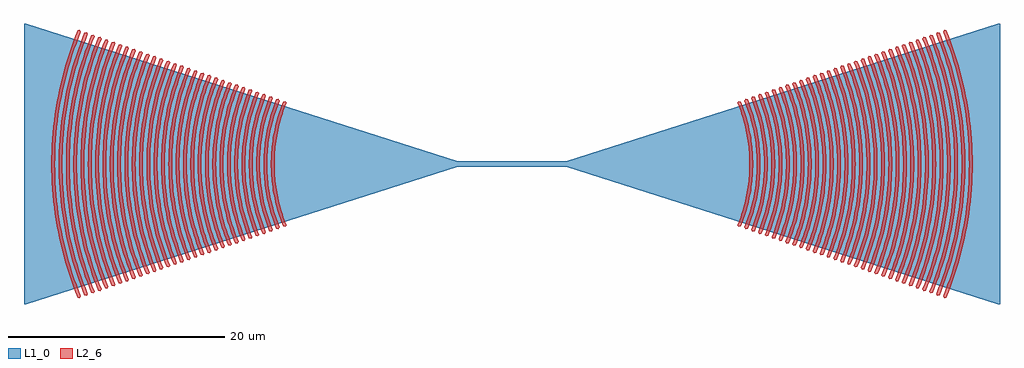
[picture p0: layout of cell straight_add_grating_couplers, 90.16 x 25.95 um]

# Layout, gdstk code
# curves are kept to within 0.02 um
from math import pi, radians
import gdstk
lib = gdstk.Library(unit=1e-6, precision=1e-09)
def R(c, l, rs):  # rectangles x0, y0, x1, y1
    for r in rs: c.add(gdstk.rectangle(r[:2], r[2:], *l))
def P(c, l, *ps):  # polygons
    for p in ps: c.add(gdstk.Polygon(p, *l))
L1_0 = (1, 0)
L2_6 = (2, 6)

straight = lib.new_cell('straight')
R(straight, L1_0, [(0,-0.25,10,0.25)])

grating_coupler_elliptic = lib.new_cell('grating_coupler_elliptical_trenches_taper_angle35')
P(grating_coupler_elliptic, L1_0, [(0.471,-0.25),(0.471,0.25),(40.352,12.973),(40.552,12.973),(40.552,-12.973),(40.352,-12.973)])
P(grating_coupler_elliptic, L2_6, [(16.414,-5.811),(16.3,-5.646),(16.58,-4.905),(16.82,-4.153),(17.02,-3.389),(17.178,-2.617),(17.351,-1.313),(17.409,0),(17.351,1.313),(17.178,2.617),(17.02,3.389),(16.82,4.153),(16.58,4.905),(16.3,5.646),(16.414,5.811),(16.61,5.77),(16.981,4.76),(17.344,3.465),(17.506,2.675),(17.658,1.611),(17.721,0.806),(17.743,0),(17.721,-0.806),(17.658,-1.611),(17.506,-2.675),(17.344,-3.465),(16.981,-4.76),(16.61,-5.77)],
  [(17.047,-6.03),(16.933,-5.866),(17.224,-5.096),(17.473,-4.315),(17.68,-3.521),(17.845,-2.718),(18.025,-1.364),(18.085,0),(18.025,1.364),(17.845,2.718),(17.68,3.521),(17.473,4.315),(17.224,5.096),(16.933,5.866),(17.047,6.03),(17.243,5.988),(17.444,5.469),(17.793,4.407),(18.066,3.325),(18.219,2.501),(18.33,1.671),(18.396,0.837),(18.419,0),(18.396,-0.837),(18.33,-1.671),(18.219,-2.501),(18.066,-3.325),(17.793,-4.407),(17.444,-5.469),(17.243,-5.988)],
  [(17.68,-6.25),(17.566,-6.086),(17.868,-5.287),(18.126,-4.477),(18.341,-3.653),(18.512,-2.82),(18.699,-1.415),(18.761,0),(18.699,1.415),(18.512,2.82),(18.341,3.653),(18.126,4.477),(17.868,5.287),(17.566,6.086),(17.68,6.25),(17.876,6.208),(17.982,5.94),(18.363,4.846),(18.665,3.729),(18.84,2.878),(19.003,1.733),(19.071,0.868),(19.095,0),(19.071,-0.868),(19.003,-1.733),(18.84,-2.878),(18.665,-3.729),(18.363,-4.846),(17.982,-5.94),(17.876,-6.208)],
  [(18.313,-6.469),(18.199,-6.304),(18.512,-5.478),(18.779,-4.638),(19.002,-3.785),(19.179,-2.922),(19.373,-1.466),(19.437,0),(19.373,1.466),(19.179,2.922),(19.002,3.785),(18.779,4.638),(18.512,5.478),(18.199,6.304),(18.313,6.469),(18.509,6.428),(18.619,6.15),(19.013,5.018),(19.326,3.861),(19.507,2.98),(19.676,1.794),(19.746,0.898),(19.771,0),(19.746,-0.898),(19.676,-1.794),(19.507,-2.98),(19.326,-3.861),(19.013,-5.018),(18.619,-6.15),(18.509,-6.428)],
  [(18.946,-6.689),(18.832,-6.525),(19.155,-5.668),(19.432,-4.8),(19.663,-3.917),(19.846,-3.024),(20.046,-1.517),(20.113,0),(20.046,1.517),(19.846,3.024),(19.663,3.917),(19.432,4.8),(19.155,5.668),(18.832,6.525),(18.946,6.689),(19.142,6.647),(19.365,6.07),(19.752,4.892),(20.055,3.69),(20.225,2.776),(20.349,1.855),(20.422,0.929),(20.447,0),(20.422,-0.929),(20.349,-1.855),(20.225,-2.776),(20.055,-3.69),(19.752,-4.892),(19.365,-6.07),(19.142,-6.647)],
  [(19.579,-6.908),(19.465,-6.744),(19.799,-5.859),(20.085,-4.961),(20.324,-4.048),(20.513,-3.125),(20.72,-1.568),(20.789,0),(20.72,1.568),(20.513,3.125),(20.324,4.048),(20.085,4.961),(19.799,5.859),(19.465,6.744),(19.579,6.908),(19.775,6.866),(20.005,6.27),(20.405,5.053),(20.718,3.812),(20.894,2.868),(21.021,1.917),(21.097,0.96),(21.123,0),(21.097,-0.96),(21.021,-1.917),(20.894,-2.868),(20.718,-3.812),(20.405,-5.053),(20.005,-6.27),(19.775,-6.866)],
  [(20.212,-7.128),(20.098,-6.964),(20.443,-6.05),(20.738,-5.123),(20.984,-4.18),(21.18,-3.227),(21.394,-1.619),(21.465,0),(21.394,1.619),(21.18,3.227),(20.984,4.18),(20.738,5.123),(20.443,6.05),(20.098,6.964),(20.212,7.128),(20.408,7.086),(20.646,6.471),(21.058,5.215),(21.381,3.934),(21.563,2.959),(21.694,1.978),(21.772,0.99),(21.799,0),(21.772,-0.99),(21.694,-1.978),(21.563,-2.959),(21.381,-3.934),(21.058,-5.215),(20.646,-6.471),(20.408,-7.086)],
  [(20.844,-7.347),(20.73,-7.182),(21.087,-6.241),(21.391,-5.284),(21.645,-4.312),(21.847,-3.329),(22.068,-1.67),(22.141,0),(22.068,1.67),(21.847,3.329),(21.645,4.312),(21.391,5.284),(21.087,6.241),(20.73,7.182),(20.844,7.347),(21.04,7.306),(21.286,6.672),(21.711,5.376),(22.044,4.056),(22.231,3.051),(22.367,2.039),(22.447,1.021),(22.475,0),(22.447,-1.021),(22.367,-2.039),(22.231,-3.051),(22.044,-4.056),(21.711,-5.376),(21.286,-6.672),(21.04,-7.306)],
  [(21.477,-7.567),(21.363,-7.402),(21.73,-6.432),(22.044,-5.446),(22.306,-4.444),(22.514,-3.431),(22.741,-1.721),(22.817,0),(22.741,1.721),(22.514,3.431),(22.306,4.444),(22.044,5.446),(21.73,6.432),(21.363,7.402),(21.477,7.567),(21.673,7.526),(21.926,6.871),(22.364,5.538),(22.707,4.177),(22.9,3.143),(23.04,2.1),(23.122,1.052),(23.151,0),(23.122,-1.052),(23.04,-2.1),(22.9,-3.143),(22.707,-4.177),(22.364,-5.538),(21.926,-6.871),(21.673,-7.526)],
  [(22.11,-7.786),(21.996,-7.621),(22.374,-6.622),(22.697,-5.607),(22.967,-4.576),(23.181,-3.533),(23.415,-1.773),(23.493,0),(23.415,1.773),(23.181,3.533),(22.967,4.576),(22.697,5.607),(22.374,6.622),(21.996,7.621),(22.11,7.786),(22.306,7.745),(22.566,7.072),(23.017,5.699),(23.37,4.299),(23.569,3.234),(23.712,2.161),(23.798,1.082),(23.827,0),(23.798,-1.082),(23.712,-2.161),(23.569,-3.234),(23.37,-4.299),(23.017,-5.699),(22.566,-7.072),(22.306,-7.745)],
  [(22.743,-8.006),(22.629,-7.842),(23.018,-6.813),(23.35,-5.769),(23.628,-4.708),(23.848,-3.634),(24.089,-1.824),(24.141,-1.095),(24.169,0),(24.141,1.095),(24.089,1.824),(23.848,3.634),(23.628,4.708),(23.35,5.769),(23.018,6.813),(22.629,7.842),(22.743,8.006),(22.939,7.964),(23.207,7.273),(23.67,5.861),(24.033,4.421),(24.238,3.326),(24.385,2.223),(24.473,1.113),(24.503,0),(24.473,-1.113),(24.385,-2.223),(24.238,-3.326),(24.033,-4.421),(23.67,-5.861),(23.207,-7.273),(22.939,-7.964)],
  [(23.376,-8.225),(23.262,-8.06),(23.662,-7.004),(24.003,-5.93),(24.289,-4.839),(24.515,-3.736),(24.684,-2.622),(24.763,-1.875),(24.833,-0.751),(24.845,0),(24.833,0.751),(24.763,1.875),(24.684,2.622),(24.515,3.736),(24.289,4.839),(24.003,5.93),(23.662,7.004),(23.262,8.06),(23.376,8.225),(23.572,8.184),(23.847,7.474),(24.323,6.022),(24.696,4.543),(24.906,3.418),(25.058,2.284),(25.148,1.144),(25.179,0),(25.148,-1.144),(25.058,-2.284),(24.906,-3.418),(24.696,-4.543),(24.323,-6.022),(23.847,-7.474),(23.572,-8.184)],
  [(24.009,-8.445),(23.895,-8.28),(24.305,-7.195),(24.657,-6.092),(24.949,-4.971),(25.182,-3.838),(25.355,-2.693),(25.436,-1.926),(25.508,-0.771),(25.521,0),(25.508,0.771),(25.436,1.926),(25.355,2.693),(25.182,3.838),(24.949,4.971),(24.657,6.092),(24.305,7.195),(23.895,8.28),(24.009,8.445),(24.205,8.404),(24.619,7.305),(24.977,6.184),(25.359,4.665),(25.575,3.509),(25.731,2.346),(25.823,1.174),(25.855,0),(25.823,-1.174),(25.731,-2.346),(25.575,-3.509),(25.359,-4.665),(24.977,-6.184),(24.619,-7.305),(24.205,-8.404)],
  [(24.642,-8.664),(24.528,-8.499),(24.949,-7.386),(25.31,-6.253),(25.61,-5.103),(25.849,-3.94),(26.027,-2.764),(26.11,-1.977),(26.184,-0.792),(26.197,0),(26.184,0.792),(26.11,1.977),(26.027,2.764),(25.849,3.94),(25.61,5.103),(25.31,6.253),(24.949,7.386),(24.528,8.499),(24.642,8.664),(24.838,8.623),(25.263,7.496),(25.63,6.345),(26.022,4.787),(26.244,3.601),(26.404,2.407),(26.498,1.205),(26.531,0),(26.498,-1.205),(26.404,-2.407),(26.244,-3.601),(26.022,-4.787),(25.63,-6.345),(25.263,-7.496),(24.838,-8.623)],
  [(25.275,-8.884),(25.161,-8.72),(25.593,-7.576),(25.963,-6.415),(26.271,-5.235),(26.516,-4.041),(26.645,-3.239),(26.784,-2.028),(26.86,-0.812),(26.873,0),(26.86,0.812),(26.784,2.028),(26.645,3.239),(26.516,4.041),(26.271,5.235),(25.963,6.415),(25.593,7.576),(25.161,8.72),(25.275,8.884),(25.471,8.842),(25.907,7.686),(26.283,6.507),(26.686,4.908),(26.912,3.693),(27.076,2.468),(27.174,1.236),(27.207,0),(27.174,-1.236),(27.076,-2.468),(26.912,-3.693),(26.686,-4.908),(26.283,-6.507),(25.907,-7.686),(25.471,-8.842)],
  [(25.908,-9.103),(25.794,-8.939),(26.237,-7.767),(26.616,-6.576),(26.932,-5.367),(27.183,-4.143),(27.315,-3.321),(27.458,-2.079),(27.517,-1.248),(27.549,0),(27.517,1.248),(27.458,2.079),(27.315,3.321),(27.183,4.143),(26.932,5.367),(26.616,6.576),(26.237,7.767),(25.794,8.939),(25.908,9.103),(26.104,9.061),(26.551,7.877),(26.936,6.668),(27.349,5.03),(27.581,3.784),(27.749,2.529),(27.849,1.266),(27.883,0),(27.849,-1.266),(27.749,-2.529),(27.581,-3.784),(27.349,-5.03),(26.936,-6.668),(26.551,-7.877),(26.104,-9.061)],
  [(26.54,-9.323),(26.426,-9.158),(26.88,-7.958),(27.269,-6.738),(27.593,-5.498),(27.85,-4.245),(28.042,-2.978),(28.131,-2.13),(28.211,-0.853),(28.225,0),(28.211,0.853),(28.131,2.13),(28.042,2.978),(27.85,4.245),(27.593,5.498),(27.269,6.738),(26.88,7.958),(26.426,9.158),(26.54,9.323),(26.736,9.282),(27.194,8.068),(27.706,6.413),(28.012,5.152),(28.25,3.876),(28.422,2.59),(28.524,1.297),(28.559,0),(28.524,-1.297),(28.422,-2.59),(28.25,-3.876),(28.012,-5.152),(27.706,-6.413),(27.194,-8.068),(26.736,-9.282)],
  [(27.173,-9.542),(27.059,-9.377),(27.524,-8.149),(27.922,-6.9),(28.254,-5.63),(28.517,-4.347),(28.713,-3.05),(28.805,-2.181),(28.867,-1.31),(28.901,0),(28.867,1.31),(28.805,2.181),(28.713,3.05),(28.517,4.347),(28.254,5.63),(27.922,6.9),(27.524,8.149),(27.059,9.377),(27.173,9.542),(27.369,9.501),(27.838,8.259),(28.362,6.565),(28.675,5.274),(28.919,3.968),(29.095,2.652),(29.199,1.328),(29.235,0),(29.199,-1.328),(29.095,-2.652),(28.919,-3.968),(28.675,-5.274),(28.362,-6.565),(27.838,-8.259),(27.369,-9.501)],
  [(27.806,-9.762),(27.692,-9.597),(28.168,-8.339),(28.575,-7.061),(28.914,-5.762),(29.184,-4.448),(29.385,-3.122),(29.479,-2.232),(29.562,-0.894),(29.577,0),(29.562,0.894),(29.479,2.232),(29.385,3.122),(29.184,4.448),(28.914,5.762),(28.575,7.061),(28.168,8.339),(27.692,9.597),(27.806,9.762),(28.002,9.721),(28.482,8.449),(28.895,7.153),(29.338,5.396),(29.587,4.06),(29.767,2.713),(29.874,1.358),(29.911,0),(29.874,-1.358),(29.767,-2.713),(29.587,-4.06),(29.338,-5.396),(28.895,-7.153),(28.482,-8.449),(28.002,-9.721)],
  [(28.439,-9.981),(28.325,-9.816),(28.812,-8.53),(29.228,-7.223),(29.575,-5.894),(29.851,-4.55),(29.996,-3.647),(30.153,-2.283),(30.238,-0.914),(30.253,0),(30.238,0.914),(30.153,2.283),(29.996,3.647),(29.851,4.55),(29.575,5.894),(29.228,7.223),(28.812,8.53),(28.325,9.816),(28.439,9.981),(28.635,9.94),(29.126,8.64),(29.548,7.315),(30.001,5.518),(30.256,4.151),(30.44,2.774),(30.549,1.389),(30.587,0),(30.549,-1.389),(30.44,-2.774),(30.256,-4.151),(30.001,-5.518),(29.673,-6.869),(29.126,-8.64),(28.635,-9.94)],
  [(29.072,-10.201),(28.958,-10.037),(29.455,-8.721),(29.881,-7.384),(30.236,-6.026),(30.518,-4.652),(30.728,-3.264),(30.826,-2.334),(30.893,-1.402),(30.929,0),(30.893,1.402),(30.826,2.334),(30.728,3.264),(30.518,4.652),(30.236,6.026),(29.881,7.384),(29.455,8.721),(28.958,10.037),(29.072,10.201),(29.268,10.159),(29.769,8.831),(30.329,7.02),(30.664,5.639),(30.925,4.243),(31.113,2.836),(31.225,1.42),(31.263,0),(31.225,-1.42),(31.113,-2.836),(30.925,-4.243),(30.664,-5.639),(30.329,-7.02),(29.769,-8.831),(29.268,-10.159)],
  [(29.705,-10.42),(29.591,-10.255),(30.099,-8.912),(30.534,-7.546),(30.897,-6.158),(31.185,-4.754),(31.4,-3.336),(31.5,-2.385),(31.568,-1.432),(31.605,0),(31.589,0.955),(31.5,2.385),(31.4,3.336),(31.185,4.754),(30.897,6.158),(30.534,7.546),(30.099,8.912),(29.591,10.255),(29.705,10.42),(29.901,10.379),(30.413,9.022),(30.985,7.172),(31.327,5.761),(31.593,4.335),(31.786,2.896),(31.9,1.45),(31.939,0),(31.9,-1.45),(31.786,-2.896),(31.593,-4.335),(31.327,-5.761),(30.985,-7.172),(30.413,-9.022),(29.901,-10.379)],
  [(30.338,-10.64),(30.224,-10.475),(30.743,-9.103),(31.187,-7.707),(31.558,-6.289),(31.852,-4.855),(32.071,-3.407),(32.174,-2.437),(32.265,-0.976),(32.281,0),(32.265,0.976),(32.174,2.437),(32.071,3.407),(31.852,4.855),(31.558,6.289),(31.187,7.707),(30.743,9.103),(30.224,10.475),(30.338,10.64),(30.534,10.599),(31.057,9.213),(31.641,7.324),(31.99,5.883),(32.262,4.426),(32.458,2.958),(32.575,1.481),(32.615,0),(32.575,-1.481),(32.458,-2.958),(32.262,-4.426),(31.99,-5.883),(31.641,-7.324),(31.057,-9.213),(30.534,-10.599)],
  [(30.971,-10.859),(30.857,-10.695),(31.387,-9.293),(31.84,-7.869),(32.219,-6.421),(32.519,-4.957),(32.743,-3.479),(32.848,-2.488),(32.94,-0.996),(32.957,0),(32.94,0.996),(32.848,2.488),(32.743,3.479),(32.519,4.957),(32.219,6.421),(31.84,7.869),(31.387,9.293),(30.857,10.695),(30.971,10.859),(31.167,10.817),(31.701,9.403),(32.297,7.476),(32.653,6.005),(32.931,4.518),(33.131,3.019),(33.25,1.512),(33.291,0),(33.25,-1.512),(33.131,-3.019),(32.931,-4.518),(32.653,-6.005),(32.297,-7.476),(31.701,-9.403),(31.167,-10.817)],
  [(31.604,-11.079),(31.49,-10.915),(32.03,-9.484),(32.493,-8.03),(32.879,-6.553),(33.186,-5.059),(33.347,-4.055),(33.521,-2.539),(33.616,-1.017),(33.633,0),(33.616,1.017),(33.521,2.539),(33.347,4.055),(33.186,5.059),(32.879,6.553),(32.493,8.03),(32.03,9.484),(31.49,10.915),(31.604,11.079),(31.8,11.037),(32.344,9.594),(32.952,7.627),(33.316,6.127),(33.6,4.61),(33.804,3.081),(33.925,1.542),(33.967,0),(33.925,-1.542),(33.804,-3.081),(33.6,-4.61),(33.316,-6.127),(32.952,-7.627),(32.344,-9.594),(31.8,-11.037)],
  [(32.237,-11.298),(32.123,-11.133),(32.674,-9.675),(33.146,-8.192),(33.54,-6.685),(33.853,-5.161),(34.086,-3.621),(34.195,-2.59),(34.292,-1.037),(34.309,0),(34.292,1.037),(34.195,2.59),(34.086,3.621),(33.853,5.161),(33.54,6.685),(33.146,8.192),(32.674,9.675),(32.123,11.133),(32.237,11.298),(32.433,11.257),(32.988,9.785),(33.608,7.779),(33.979,6.249),(34.268,4.701),(34.477,3.142),(34.601,1.573),(34.643,0),(34.601,-1.573),(34.477,-3.142),(34.268,-4.701),(33.979,-6.249),(33.608,-7.779),(32.988,-9.785),(32.433,-11.257)],
  [(32.869,-11.518),(32.755,-11.353),(33.318,-9.866),(33.799,-8.353),(34.201,-6.817),(34.52,-5.262),(34.758,-3.694),(34.869,-2.641),(34.944,-1.586),(34.985,0),(34.944,1.586),(34.869,2.641),(34.758,3.694),(34.52,5.262),(34.201,6.817),(33.799,8.353),(33.318,9.866),(32.755,11.353),(32.869,11.518),(33.065,11.477),(33.632,9.976),(34.264,7.931),(34.642,6.37),(34.937,4.793),(35.149,3.203),(35.276,1.604),(35.319,0),(35.276,-1.604),(35.149,-3.203),(34.937,-4.793),(34.642,-6.37),(34.264,-7.931),(33.632,-9.976),(33.065,-11.477)],
  [(33.502,-11.738),(33.388,-11.573),(33.962,-10.056),(34.453,-8.515),(34.862,-6.949),(35.187,-5.364),(35.358,-4.299),(35.543,-2.692),(35.643,-1.078),(35.661,0),(35.643,1.078),(35.543,2.692),(35.358,4.299),(35.187,5.364),(34.862,6.949),(34.453,8.515),(33.962,10.056),(33.388,11.573),(33.502,11.738),(33.698,11.697),(34.276,10.166),(34.773,8.607),(35.305,6.492),(35.606,4.885),(35.822,3.264),(35.951,1.634),(35.995,0),(35.951,-1.634),(35.822,-3.264),(35.606,-4.885),(35.305,-6.492),(34.773,-8.607),(34.276,-10.166),(33.698,-11.697)],
  [(34.135,-11.957),(34.021,-11.792),(34.605,-10.247),(35.106,-8.676),(35.523,-7.08),(35.854,-5.466),(36.101,-3.835),(36.216,-2.743),(36.319,-1.098),(36.337,0),(36.319,1.098),(36.216,2.743),(36.101,3.835),(35.854,5.466),(35.523,7.08),(35.106,8.676),(34.605,10.247),(34.021,11.792),(34.135,11.957),(34.331,11.916),(34.919,10.357),(35.576,8.233),(35.968,6.614),(36.274,4.976),(36.495,3.325),(36.626,1.665),(36.671,0),(36.626,-1.665),(36.495,-3.325),(36.274,-4.976),(35.968,-6.614),(35.576,-8.233),(34.919,-10.357),(34.331,-11.916)],
  [(34.768,-12.177),(34.654,-12.013),(35.249,-10.438),(35.759,-8.838),(36.183,-7.212),(36.521,-5.568),(36.772,-3.907),(36.89,-2.794),(36.994,-1.119),(37.013,0),(36.994,1.119),(36.89,2.794),(36.772,3.907),(36.521,5.568),(36.183,7.212),(35.759,8.838),(35.249,10.438),(34.654,12.013),(34.768,12.177),(34.964,12.135),(35.563,10.548),(36.232,8.385),(36.631,6.736),(36.943,5.068),(37.168,3.387),(37.301,1.696),(37.347,0),(37.301,-1.696),(37.168,-3.387),(36.943,-5.068),(36.631,-6.736),(36.232,-8.385),(35.563,-10.548),(34.964,-12.135)],
  [(35.401,-12.396),(35.287,-12.231),(35.893,-10.629),(36.412,-8.999),(36.844,-7.344),(37.188,-5.669),(37.444,-3.979),(37.564,-2.845),(37.645,-1.708),(37.689,0),(37.67,1.139),(37.564,2.845),(37.444,3.979),(37.188,5.669),(36.844,7.344),(36.412,8.999),(35.893,10.629),(35.287,12.231),(35.401,12.396),(35.597,12.355),(36.207,10.739),(36.732,9.091),(37.295,6.858),(37.612,5.16),(37.84,3.448),(37.977,1.726),(38.023,0),(37.977,-1.726),(37.84,-3.448),(37.612,-5.16),(37.295,-6.858),(36.732,-9.091),(36.207,-10.739),(35.597,-12.355)])

straight_add_grating_cou = lib.new_cell('straight_add_grating_couplers')
straight_add_grating_cou.add(gdstk.Reference(straight, (0,0)))
straight_add_grating_cou.add(gdstk.Reference(grating_coupler_elliptic, (0.471,0), rotation=pi))
straight_add_grating_cou.add(gdstk.Reference(grating_coupler_elliptic, (9.529,0)))

lib.write_gds('straight_add_grating_couplers.gds')
